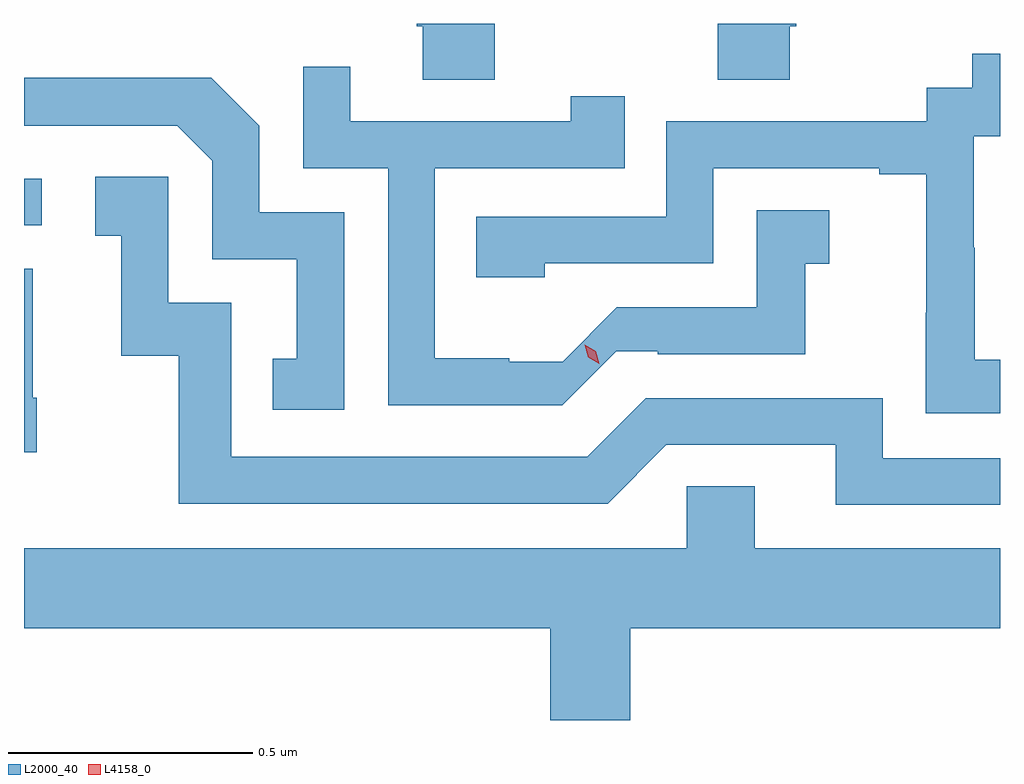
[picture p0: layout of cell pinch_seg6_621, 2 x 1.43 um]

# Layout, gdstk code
import gdstk
lib = gdstk.Library(unit=1e-6, precision=1e-09)
def R(c, l, rs):  # rectangles x0, y0, x1, y1
    for r in rs: c.add(gdstk.rectangle(r[:2], r[2:], *l))
def P(c, l, *ps):  # polygons
    for p in ps: c.add(gdstk.Polygon(p, *l))
L2000_40 = (2000, 40)
L4158_0 = (4158, 0)

pinch_seg6_621 = lib.new_cell('pinch_seg6_621')
R(pinch_seg6_621, L2000_40, [(499.594,988.122,499.63,988.218)])
P(pinch_seg6_621, L2000_40, [(500.559,988.535),(500.399,988.535),(500.399,988.53),(500.411,988.53),(500.411,988.42),(500.559,988.42)],
  [(501.016,988.42),(501.163,988.42),(501.163,988.53),(501.176,988.53),(501.176,988.535),(501.016,988.535)],
  [(501.594,987.847),(501.542,987.847),(501.542,988.076),(501.54,988.076),(501.54,988.305),(501.594,988.305),(501.594,988.474),(501.537,988.474),(501.537,988.404),(501.444,988.404),(501.444,988.335),(500.91,988.335),(500.91,988.14),(500.521,988.14),(500.521,988.016),(500.661,988.016),(500.661,988.044),(501.006,988.044),(501.006,988.239),(501.347,988.239),(501.347,988.227),(501.443,988.227),(501.443,987.943),(501.442,987.943),(501.442,987.737),(501.594,987.737)],
  [(500.808,987.864),(500.893,987.864),(500.893,987.858),(501.195,987.858),(501.195,988.043),(501.244,988.043),(501.244,988.153),(501.096,988.153),(501.096,987.954),(500.809,987.954),(500.698,987.843),(500.588,987.843),(500.588,987.85),(500.436,987.85),(500.436,988.239),(500.825,988.239),(500.825,988.387),(500.714,988.387),(500.714,988.335),(500.263,988.335),(500.263,988.447),(500.166,988.447),(500.166,988.239),(500.34,988.239),(500.34,987.753),(500.697,987.753)],
  [(500.25,988.149),(500.076,988.149),(500.076,988.326),(499.978,988.424),(499.594,988.424),(499.594,988.326),(499.908,988.326),(499.98,988.254),(499.98,988.053),(500.153,988.053),(500.153,987.849),(500.104,987.849),(500.104,987.744),(500.25,987.744)],
  [(501.594,987.645),(501.354,987.645),(501.354,987.768),(500.868,987.768),(500.748,987.648),(500.019,987.648),(500.019,987.963),(499.89,987.963),(499.89,988.222),(499.74,988.222),(499.74,988.101),(499.793,988.101),(499.793,987.855),(499.911,987.855),(499.911,987.552),(500.79,987.552),(500.91,987.672),(501.257,987.672),(501.257,987.549),(501.594,987.549)],
  [(499.62,987.769),(499.612,987.769),(499.612,988.033),(499.594,988.033),(499.594,987.657),(499.62,987.657)],
  [(500.836,987.296),(501.594,987.296),(501.594,987.46),(501.091,987.46),(501.091,987.587),(500.952,987.587),(500.952,987.46),(499.594,987.46),(499.594,987.296),(500.672,987.296),(500.672,987.108),(500.836,987.108)])
P(pinch_seg6_621, L4158_0, [(500.773,987.838),(500.75,987.852),(500.743,987.877),(500.743,987.877),(500.743,987.877),(500.766,987.864),(500.773,987.838),(500.773,987.838)])

lib.write_gds('pinch_seg6_621.gds')
